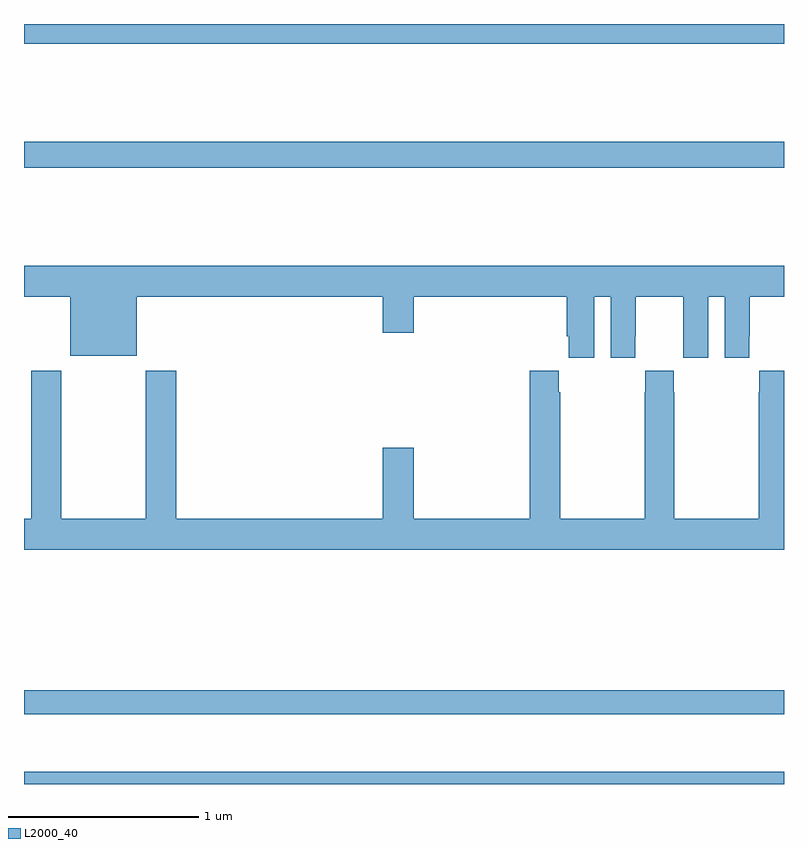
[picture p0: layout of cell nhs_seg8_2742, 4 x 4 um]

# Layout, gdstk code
import gdstk
lib = gdstk.Library(unit=1e-6, precision=1e-09)
def R(c, l, rs):  # rectangles x0, y0, x1, y1
    for r in rs: c.add(gdstk.rectangle(r[:2], r[2:], *l))
def P(c, l, *ps):  # polygons
    for p in ps: c.add(gdstk.Polygon(p, *l))
L2000_40 = (2000, 40)

nhs_seg8_2742 = lib.new_cell('nhs_seg8_2742')
R(nhs_seg8_2742, L2000_40, [(283,1149.9,287,1149.964), (283,1150.266,287,1150.394), (283,1153.144,287,1153.28), (283,1153.796,287,1153.9)])
P(nhs_seg8_2742, L2000_40, [(286,1152.464),(286.088,1152.464),(286.088,1152.144),(286.218,1152.144),(286.218,1152.256),(286.219,1152.256),(286.219,1152.464),(286.469,1152.464),(286.469,1152.256),(286.47,1152.256),(286.47,1152.144),(286.6,1152.144),(286.6,1152.464),(286.688,1152.464),(286.688,1152.144),(286.818,1152.144),(286.818,1152.256),(286.819,1152.256),(286.819,1152.464),(287,1152.464),(287,1152.628),(283,1152.628),(283,1152.464),(283.244,1152.464),(283.244,1152.155),(283.594,1152.155),(283.594,1152.464),(284.888,1152.464),(284.888,1152.276),(285.052,1152.276),(285.052,1152.464),(285.857,1152.464),(285.857,1152.256),(285.866,1152.256),(285.866,1152.144),(286,1152.144)],
  [(286.269,1152.076),(286.269,1151.963),(286.267,1151.963),(286.267,1151.296),(285.822,1151.296),(285.822,1151.963),(285.815,1151.963),(285.815,1152.076),(285.662,1152.076),(285.662,1151.296),(285.052,1151.296),(285.052,1151.671),(284.888,1151.671),(284.888,1151.296),(283.802,1151.296),(283.802,1152.076),(283.642,1152.076),(283.642,1151.296),(283.197,1151.296),(283.197,1152.076),(283.037,1152.076),(283.037,1151.296),(283,1151.296),(283,1151.132),(287,1151.132),(287,1152.076),(286.869,1152.076),(286.869,1151.963),(286.867,1151.963),(286.867,1151.296),(286.422,1151.296),(286.422,1151.963),(286.419,1151.963),(286.419,1152.076)])

lib.write_gds('nhs_seg8_2742.gds')
